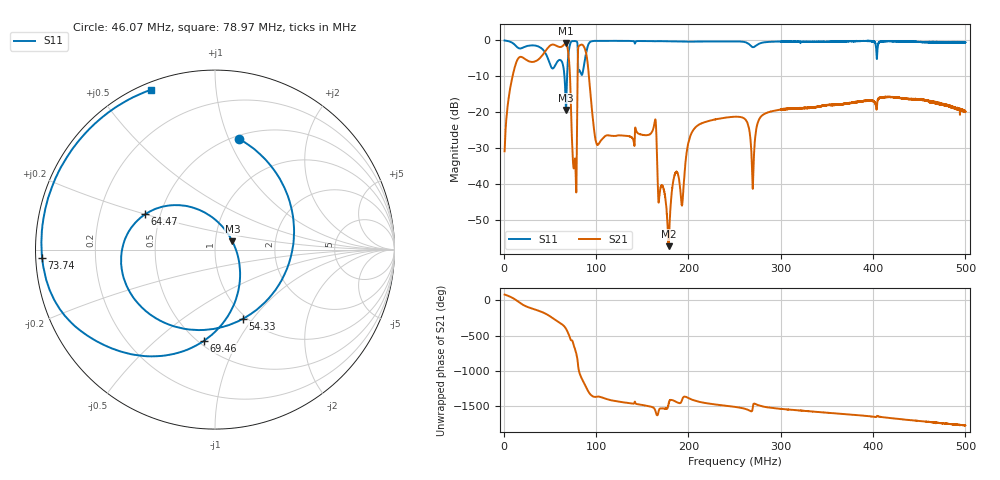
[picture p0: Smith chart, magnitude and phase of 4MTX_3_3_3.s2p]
! NanoVNA-App
! Date: 2026-08-18 20:45:26
! Start: 1MHz Stop: 500MHz Points: 6401
! S-Parameter data: F S11 S21 S12 S22
# Hz S RI R 50
!  Frequency  S11_Real  S11_Imag  S21_Real  S21_Imag  S12_Real  S12_Imag  S22_Real  S22_Imag
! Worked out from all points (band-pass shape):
!   6401 points, 1 MHz to 500 MHz, reference 50 ohm
!   highest |S21| = -0.88 dB at 67.2 MHz (marker M1); lowest = -57.1 dB at 178.5 MHz (marker M2)
!   |S21| within 3 dB of the highest: 42.9 MHz to 70.07 MHz (27.17 MHz wide, 48.1 % of centre); 80.39 MHz to 89.48 MHz (9.095 MHz wide, 10.7 % of centre)
!   lowest |S11| = -19.4 dB at 67.51 MHz (marker M3), VSWR 1.24, Z = 60.5 + j5.63 ohm
!   |S11| at or under -10 dB: 65.81 MHz to 68.66 MHz (2.845 MHz wide, 4.23 % of centre)
!   S12 and S22 are empty: the file has one direction only
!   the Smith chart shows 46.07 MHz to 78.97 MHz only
!   S11 on the Smith chart (normalised r, x): 46.07 MHz: 0.53, +1.09; 54.33 MHz: 0.96, -0.90; 64.47 MHz: 0.41, +0.20; 69.46 MHz: 0.54, -0.73; 73.74 MHz: 0.02, -0.02; 78.97 MHz: 0.03, +0.68
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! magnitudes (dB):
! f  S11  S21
! 1 MHz  -0.1  -30.8
! 14.49 MHz  -1.9  -5.6
! 46.07 MHz  -4.0  -2.7
! 54.33 MHz  -7.6  -1.3
! 64.47 MHz  -7.2  -1.5
! 67.2 MHz  -18.0  -0.9
! 67.51 MHz  -19.4  -0.9
! 69.46 MHz  -5.8  -2.6
! 73.74 MHz  -0.3  -26.3
! 76.71 MHz  -0.2  -34.9
! 78.97 MHz  -0.4  -36.9
! 84.19 MHz  -9.6  -1.2
! 101.1 MHz  -0.2  -29.0
! 162.9 MHz  -0.3  -23.6
! 167.4 MHz  -0.3  -43.8
! 178.5 MHz  -0.3  -57.1
! 205 MHz  -0.4  -25.1
! 250.5 MHz  -0.3  -21.3
! 269.8 MHz  -2.0  -41.2
! 333.7 MHz  -0.5  -18.8
! 416.9 MHz  -0.3  -15.8
! 500 MHz  -0.6  -19.8
